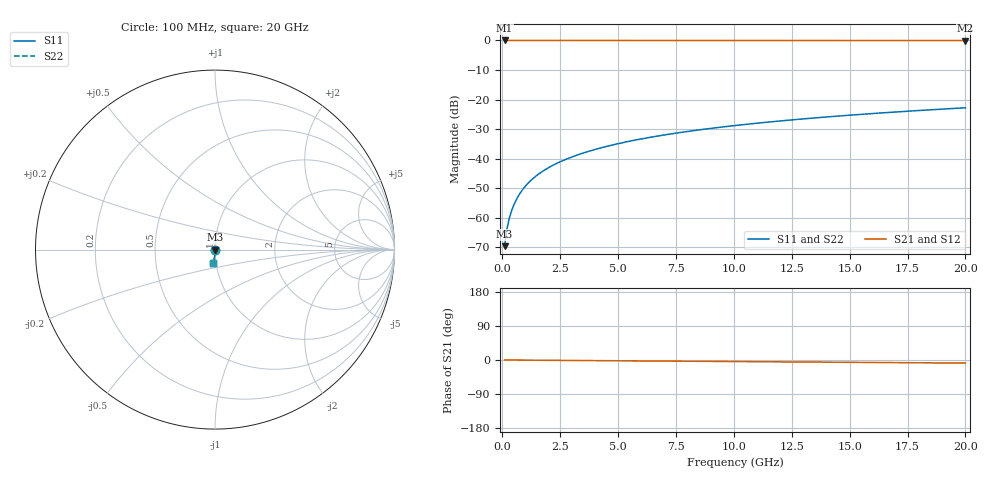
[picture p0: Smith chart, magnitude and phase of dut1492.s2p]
! Touchstone file exported from HFSS 2026.1.0
!  File:  C:/ffzhzh/LocalFiles/Ansys_Project_Files/temp_train_TSV_1492_1783198826_51560.aedt
!  Generated:  05:01:44 AM Jul  5, 2026
!  Design:  TSV
!  Project:  temp_train_TSV_1492_1783198826_51560
! Variables:
!  h_bsmrdl = 2um
!  h_ox = 20um
!  h_rdl = 5um
!  h_sub = 74.39um
!  h_tmrdl = 5um
!  h_tsv = 74.39um
!  h_via = 3um
!  l_bsmrdl = 300um
!  l_sub = 424.36um
!  l_tmrdl = 200um
!  m_sub = 200um
!  pitch = 31.85um
!  r_tsv = 12.18um
!  s_tmrdl = 10um
!  w_bsmrdl = 18um
!  w_sub = 500um
!  w_tmrdl = 12um
!  x_tsv_center1 = 206um
!  x_tsv_center2 = 524um
!  x_tsv_center3 = 736um
!  x_tsv_center4 = 1054um
!  x_tsv_center5 = 1266um
!  x_tsv_center6 = 1584um
# GHz S MA R 50.000000
! Terminal data exported
! Port[1] = TSV1_1_T1
! Port[2] = TSV1_1_T2
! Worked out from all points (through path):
!   200 points, 100 MHz to 20 GHz, reference 50 ohm
!   highest |S21| = 0.00 dB at 100 MHz (marker M1); lowest = 0.0 dB at 20 GHz (marker M2)
!   group delay of S21, straight-line fit = 1.13 ps
!   lowest |S11| = -69.6 dB at 100 MHz (marker M3), VSWR 1.00, Z = 50 - j0.0314 ohm
!   |S11| at or under -10 dB: start of sweep to end of sweep
!   |S22| runs from -69.6 to -22.8 dB; largest |S21 - S12| = 3e-15
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0.1  0.0003296 -72.1  0.9999 -0.0  0.9999 -0.0  0.0003296 -72.1
! Gamma 0 0 0 0
! Port Impedance 50 0 50 0
0.2  0.0006429 -79.5  0.9999 -0.1  0.9999 -0.1  0.0006429 -79.5
0.3  0.0009686 -81.7  0.9999 -0.1  0.9999 -0.1  0.0009686 -81.7
0.4  0.001304 -82.6  0.9998 -0.2  0.9998 -0.2  0.001304 -82.6
0.5  0.001648 -83.3  0.9998 -0.2  0.9998 -0.2  0.001648 -83.3
0.7  0.002351 -84.2  0.9997 -0.3  0.9997 -0.3  0.002351 -84.2
0.8  0.002708 -84.6  0.9997 -0.3  0.9997 -0.3  0.002708 -84.6
1  0.003427 -85.2  0.9997 -0.4  0.9997 -0.4  0.003427 -85.2
1.2  0.004149 -85.8  0.9997 -0.5  0.9997 -0.5  0.004149 -85.8
1.4  0.004871 -86.3  0.9996 -0.6  0.9996 -0.6  0.004871 -86.3
1.7  0.005953 -86.9  0.9996 -0.7  0.9996 -0.7  0.005953 -86.9
2  0.007036 -87.4  0.9996 -0.8  0.9996 -0.8  0.007036 -87.4
2.7  0.00956 -88.3  0.9995 -1.1  0.9995 -1.1  0.00956 -88.3
3.5  0.01245 -89.0  0.9994 -1.4  0.9994 -1.4  0.01245 -89.0
4.2  0.01499 -89.5  0.9993 -1.7  0.9993 -1.7  0.01499 -89.5
5  0.01789 -90.0  0.9992 -2.1  0.9992 -2.1  0.01789 -90.0
6.8  0.02444 -91.0  0.9989 -2.8  0.9989 -2.8  0.02444 -91.0
8.3  0.02991 -91.8  0.9987 -3.4  0.9987 -3.4  0.02991 -91.8
10.1  0.03648 -92.7  0.9984 -4.1  0.9984 -4.1  0.03648 -92.7
13.4  0.04851 -94.2  0.9978 -5.5  0.9978 -5.5  0.04851 -94.2
16.7  0.06052 -95.7  0.997 -6.8  0.997 -6.8  0.06052 -95.7
20  0.07249 -97.1  0.996 -8.2  0.996 -8.2  0.07249 -97.1
